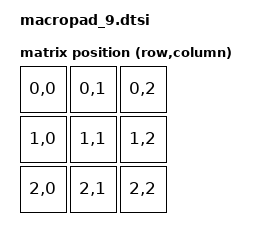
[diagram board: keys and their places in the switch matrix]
#include "macropad_9-layouts.dtsi"
#include <dt-bindings/zmk/matrix_transform.h>

/ {
    matrix_transform0: matrix_transform0 {
        compatible = "zmk,matrix-transform";
        columns = <3>;
        rows = <3>;
        map = <
            RC(0,0) RC(0,1) RC(0,2)
            RC(1,0) RC(1,1) RC(1,2)
            RC(2,0) RC(2,1) RC(2,2)
        >;
    };
};

&physical_layout_macropad_9 {
    transform = <&matrix_transform0>;
};

